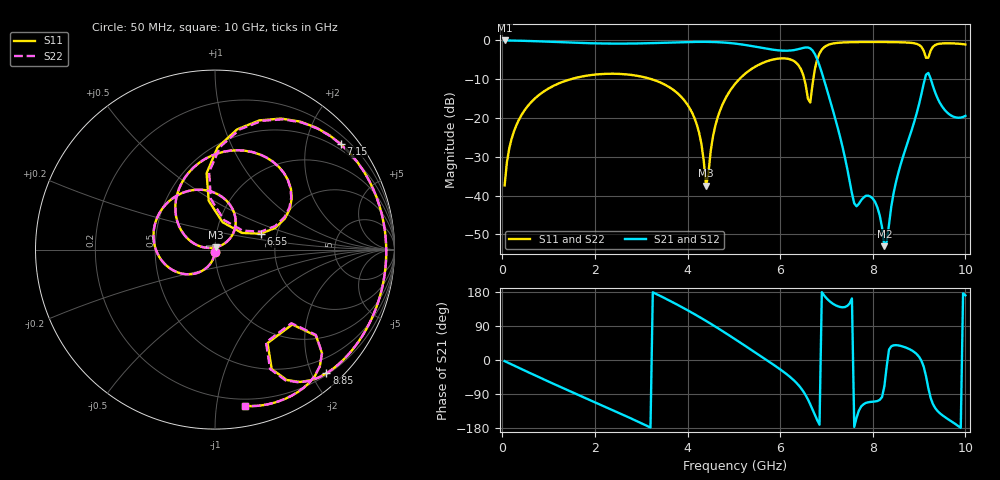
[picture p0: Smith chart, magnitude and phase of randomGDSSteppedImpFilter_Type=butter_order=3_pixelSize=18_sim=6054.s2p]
! freq	dB(S11)	phase(S11)	dB(S12)	phase(S12)
!  dB(S21)	phase(S21)	dB(S22)	phase(S22)
!S-par simulation data
#  GHz  S  DB  R 50
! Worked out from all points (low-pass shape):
!   200 points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, 50 MHz to 10 GHz, reference 50 ohm
!   highest |S21| = -0.01 dB at 50 MHz (marker M1); lowest = -53.1 dB at 8.25 GHz (marker M2)
!   |S21| within 3 dB of the highest: start of sweep to 6.722 GHz
!   lowest |S11| = -37.4 dB at 4.4 GHz (marker M3), VSWR 1.03, Z = 50.3 + j1.32 ohm
!   |S11| at or under -10 dB: start of sweep to 1.478 GHz; 3.223 GHz to 5.118 GHz (1.895 GHz wide, 45.4 % of centre); 6.521 GHz to 6.716 GHz (194.9 MHz wide, 2.95 % of centre)
!   |S22| runs from -37.4 to -0.4 dB; largest |S21 - S12| = 0
!   S11 on the Smith chart (normalised r, x): 50 MHz: 1.00, -0.03; 6.55 GHz: 1.64, +0.31; 7.15 GHz: 0.37, +2.69; 8.85 GHz: 0.23, -2.23; 10 GHz: 0.15, -1.20
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0.05  -37.39 -92.7  -0.01 -2.9  -0.01 -2.9  -37.37 -92.7
0.2  -25.42 -101.7  -0.03 -11.6  -0.03 -11.6  -25.40 -101.7
0.5  -17.71 -119.3  -0.11 -28.8  -0.11 -28.8  -17.71 -119.3
1.75  -9.24 171.3  -0.67 -98.0  -0.67 -98.0  -9.24 171.3
3.4  -10.78 79.9  -0.64 169.7  -0.64 169.7  -10.78 80.0
4.1  -18.68 38.4  -0.39 124.5  -0.39 124.5  -18.68 38.5
4.4  -37.44 76.8  -0.37 103.2  -0.37 103.2  -37.30 77.3
4.65  -19.87 166.2  -0.45 84.4  -0.45 84.4  -19.87 166.1
5.05  -10.88 139.4  -0.85 53.0  -0.85 53.0  -10.88 139.4
5.85  -4.91 76.9  -2.40 -11.9  -2.40 -11.9  -4.91 77.1
6.55  -11.40 19.2  -1.81 -92.8  -1.81 -92.8  -11.21 21.3
6.65  -16.02 74.5  -2.04 -117.0  -2.04 -117.0  -15.29 72.9
6.7  -11.25 97.3  -2.59 -131.0  -2.59 -131.0  -10.96 94.7
6.9  -2.37 71.0  -8.33 179.1  -8.33 179.1  -2.34 70.0
7.15  -0.78 40.1  -18.47 147.6  -18.47 147.6  -0.77 39.5
7.6  -0.43 9.0  -42.02 -176.6  -42.02 -176.6  -0.43 8.7
8  -0.40 -10.8  -40.78 -110.0  -40.78 -110.0  -0.40 -11.1
8.25  -0.41 -21.7  -53.06 -69.6  -53.06 -69.6  -0.41 -22.0
8.35  -0.42 -26.0  -47.54 27.2  -47.54 27.2  -0.42 -26.2
8.85  -0.65 -48.0  -22.74 24.8  -22.74 24.8  -0.66 -48.3
9.2  -4.45 -44.1  -8.39 -74.5  -8.39 -74.5  -4.56 -43.9
10  -1.04 -79.0  -19.45 170.7  -19.45 170.7  -1.05 -79.2
